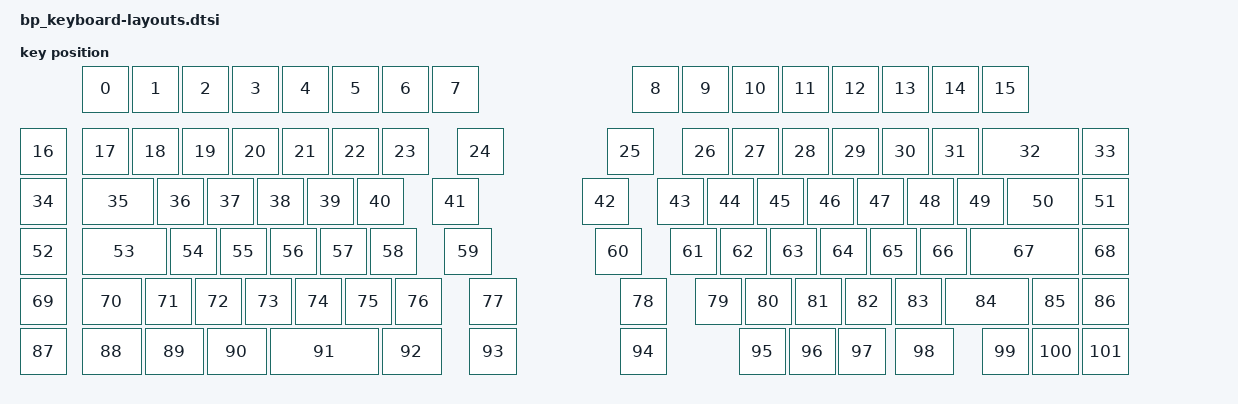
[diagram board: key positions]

#include <physical_layouts.dtsi>

/ {
    physical_layout0: physical_layout_0 {
        compatible = "zmk,physical-layout";
        display-name = "LAYOUT";

        kscan = <&kscan0>;
        transform = <&matrix_transform0>;

        keys  //                     w   h    x    y     rot    rx    ry
            = <&key_physical_attrs 100 100  125    0       0     0     0>
            , <&key_physical_attrs 100 100  225    0       0     0     0>
            , <&key_physical_attrs 100 100  325    0       0     0     0>
            , <&key_physical_attrs 100 100  425    0       0     0     0>
            , <&key_physical_attrs 100 100  525    0       0     0     0>
            , <&key_physical_attrs 100 100  625    0       0     0     0>
            , <&key_physical_attrs 100 100  725    0       0     0     0>
            , <&key_physical_attrs 100 100  825    0       0     0     0>
            , <&key_physical_attrs 100 100 1225    0       0     0     0>
            , <&key_physical_attrs 100 100 1325    0       0     0     0>
            , <&key_physical_attrs 100 100 1425    0       0     0     0>
            , <&key_physical_attrs 100 100 1525    0       0     0     0>
            , <&key_physical_attrs 100 100 1625    0       0     0     0>
            , <&key_physical_attrs 100 100 1725    0       0     0     0>
            , <&key_physical_attrs 100 100 1825    0       0     0     0>
            , <&key_physical_attrs 100 100 1925    0       0     0     0>
            , <&key_physical_attrs 100 100    0  125       0     0     0>
            , <&key_physical_attrs 100 100  125  125       0     0     0>
            , <&key_physical_attrs 100 100  225  125       0     0     0>
            , <&key_physical_attrs 100 100  325  125       0     0     0>
            , <&key_physical_attrs 100 100  425  125       0     0     0>
            , <&key_physical_attrs 100 100  525  125       0     0     0>
            , <&key_physical_attrs 100 100  625  125       0     0     0>
            , <&key_physical_attrs 100 100  725  125       0     0     0>
            , <&key_physical_attrs 100 100  875  125       0     0     0>
            , <&key_physical_attrs 100 100 1175  125       0     0     0>
            , <&key_physical_attrs 100 100 1325  125       0     0     0>
            , <&key_physical_attrs 100 100 1425  125       0     0     0>
            , <&key_physical_attrs 100 100 1525  125       0     0     0>
            , <&key_physical_attrs 100 100 1625  125       0     0     0>
            , <&key_physical_attrs 100 100 1725  125       0     0     0>
            , <&key_physical_attrs 100 100 1825  125       0     0     0>
            , <&key_physical_attrs 200 100 1925  125       0     0     0>
            , <&key_physical_attrs 100 100 2125  125       0     0     0>
            , <&key_physical_attrs 100 100    0  225       0     0     0>
            , <&key_physical_attrs 150 100  125  225       0     0     0>
            , <&key_physical_attrs 100 100  275  225       0     0     0>
            , <&key_physical_attrs 100 100  375  225       0     0     0>
            , <&key_physical_attrs 100 100  475  225       0     0     0>
            , <&key_physical_attrs 100 100  575  225       0     0     0>
            , <&key_physical_attrs 100 100  675  225       0     0     0>
            , <&key_physical_attrs 100 100  825  225       0     0     0>
            , <&key_physical_attrs 100 100 1125  225       0     0     0>
            , <&key_physical_attrs 100 100 1275  225       0     0     0>
            , <&key_physical_attrs 100 100 1375  225       0     0     0>
            , <&key_physical_attrs 100 100 1475  225       0     0     0>
            , <&key_physical_attrs 100 100 1575  225       0     0     0>
            , <&key_physical_attrs 100 100 1675  225       0     0     0>
            , <&key_physical_attrs 100 100 1775  225       0     0     0>
            , <&key_physical_attrs 100 100 1875  225       0     0     0>
            , <&key_physical_attrs 150 100 1975  225       0     0     0>
            , <&key_physical_attrs 100 100 2125  225       0     0     0>
            , <&key_physical_attrs 100 100    0  325       0     0     0>
            , <&key_physical_attrs 175 100  125  325       0     0     0>
            , <&key_physical_attrs 100 100  300  325       0     0     0>
            , <&key_physical_attrs 100 100  400  325       0     0     0>
            , <&key_physical_attrs 100 100  500  325       0     0     0>
            , <&key_physical_attrs 100 100  600  325       0     0     0>
            , <&key_physical_attrs 100 100  700  325       0     0     0>
            , <&key_physical_attrs 100 100  850  325       0     0     0>
            , <&key_physical_attrs 100 100 1150  325       0     0     0>
            , <&key_physical_attrs 100 100 1300  325       0     0     0>
            , <&key_physical_attrs 100 100 1400  325       0     0     0>
            , <&key_physical_attrs 100 100 1500  325       0     0     0>
            , <&key_physical_attrs 100 100 1600  325       0     0     0>
            , <&key_physical_attrs 100 100 1700  325       0     0     0>
            , <&key_physical_attrs 100 100 1800  325       0     0     0>
            , <&key_physical_attrs 225 100 1900  325       0     0     0>
            , <&key_physical_attrs 100 100 2125  325       0     0     0>
            , <&key_physical_attrs 100 100    0  425       0     0     0>
            , <&key_physical_attrs 125 100  125  425       0     0     0>
            , <&key_physical_attrs 100 100  250  425       0     0     0>
            , <&key_physical_attrs 100 100  350  425       0     0     0>
            , <&key_physical_attrs 100 100  450  425       0     0     0>
            , <&key_physical_attrs 100 100  550  425       0     0     0>
            , <&key_physical_attrs 100 100  650  425       0     0     0>
            , <&key_physical_attrs 100 100  750  425       0     0     0>
            , <&key_physical_attrs 100 100  900  425       0     0     0>
            , <&key_physical_attrs 100 100 1200  425       0     0     0>
            , <&key_physical_attrs 100 100 1350  425       0     0     0>
            , <&key_physical_attrs 100 100 1450  425       0     0     0>
            , <&key_physical_attrs 100 100 1550  425       0     0     0>
            , <&key_physical_attrs 100 100 1650  425       0     0     0>
            , <&key_physical_attrs 100 100 1750  425       0     0     0>
            , <&key_physical_attrs 175 100 1850  425       0     0     0>
            , <&key_physical_attrs 100 100 2025  425       0     0     0>
            , <&key_physical_attrs 100 100 2125  425       0     0     0>
            , <&key_physical_attrs 100 100    0  525       0     0     0>
            , <&key_physical_attrs 125 100  125  525       0     0     0>
            , <&key_physical_attrs 125 100  250  525       0     0     0>
            , <&key_physical_attrs 125 100  375  525       0     0     0>
            , <&key_physical_attrs 225 100  500  525       0     0     0>
            , <&key_physical_attrs 125 100  725  525       0     0     0>
            , <&key_physical_attrs 100 100  900  525       0     0     0>
            , <&key_physical_attrs 100 100 1200  525       0     0     0>
            , <&key_physical_attrs 100 100 1438  525       0     0     0>
            , <&key_physical_attrs 100 100 1538  525       0     0     0>
            , <&key_physical_attrs 100 100 1638  525       0     0     0>
            , <&key_physical_attrs 125 100 1750  525       0     0     0>
            , <&key_physical_attrs 100 100 1925  525       0     0     0>
            , <&key_physical_attrs 100 100 2025  525       0     0     0>
            , <&key_physical_attrs 100 100 2125  525       0     0     0>
            ;
    };
};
